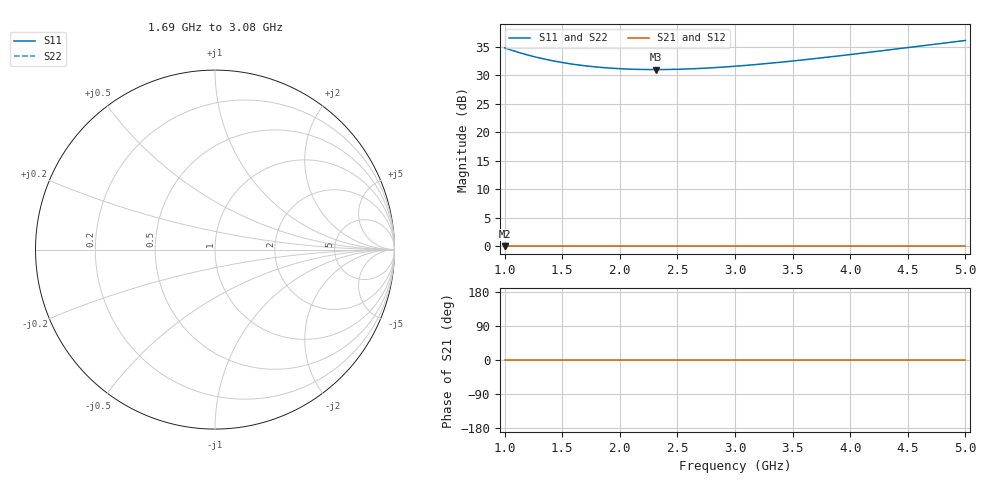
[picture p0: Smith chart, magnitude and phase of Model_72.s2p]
# GHZ S RI R 50
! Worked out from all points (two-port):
!   401 points, 1 GHz to 5 GHz, reference 50 ohm
!   highest |S21| = 0.00 dB at 1 GHz (marker M1); lowest = 0.0 dB at 1 GHz (marker M2)
!   |S21| within 3 dB of the highest: start of sweep to end of sweep
!   lowest |S11| = 31.0 dB at 2.31 GHz (marker M3)
!   |S11| at or under -10 dB: nowhere
!   |S22| runs from 31.0 to 36.2 dB; largest |S21 - S12| = 0
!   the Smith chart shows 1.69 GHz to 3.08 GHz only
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1  55.35 0  1 0  1 0  55.35 0
1.15  49.43 0  1 0  1 0  49.43 0
1.22  47.25 0  1 0  1 0  47.25 0
1.3  45.12 0  1 0  1 0  45.12 0
1.38  43.31 0  1 0  1 0  43.31 0
1.47  41.59 0  1 0  1 0  41.59 0
1.57  40.03 0  1 0  1 0  40.03 0
1.67  38.77 0  1 0  1 0  38.77 0
1.82  37.35 0  1 0  1 0  37.35 0
1.97  36.41 0  1 0  1 0  36.41 0
2.14  35.8 0  1 0  1 0  35.8 0
2.31  35.62 0  1 0  1 0  35.62 0
2.34  35.63 0  1 0  1 0  35.63 0
2.5  35.83 0  1 0  1 0  35.83 0
2.66  36.31 0  1 0  1 0  36.31 0
3  38.11 0  1 0  1 0  38.11 0
3.33  40.73 0  1 0  1 0  40.73 0
3.67  44.21 0  1 0  1 0  44.21 0
4  48.27 0  1 0  1 0  48.27 0
4.34  53.1 0  1 0  1 0  53.1 0
4.63  57.71 0  1 0  1 0  57.71 0
5  64.21 0  1 0  1 0  64.21 0
